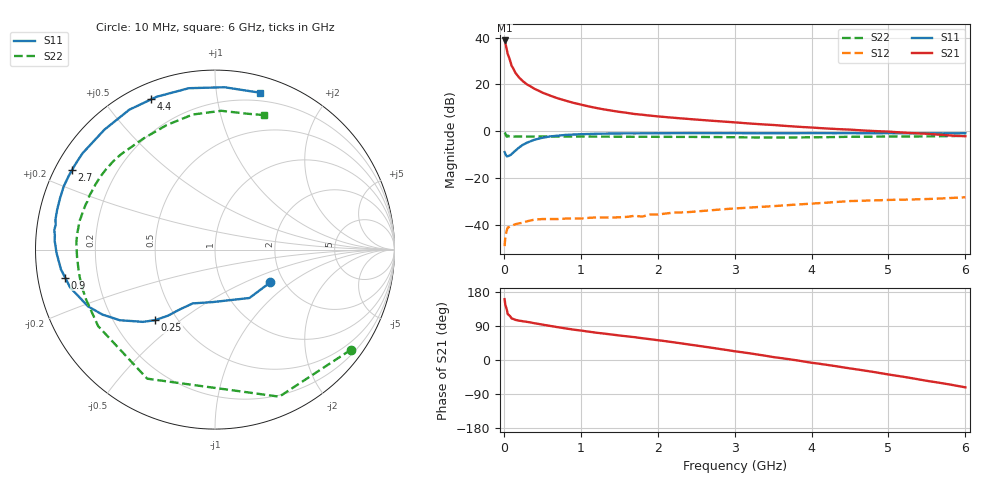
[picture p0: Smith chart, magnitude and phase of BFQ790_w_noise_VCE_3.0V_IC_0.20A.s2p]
! Infineon Technologies  Discrete & RF Semiconductors
! BFQ790
! VCE =  3.0 V,  IC = 0.20 A
! Common Emitter S-Parameters:  May 2015
# GHz  S  MA  R  50
!  f  S11  S21  S12  S22
! GHz  MAG  ANG  MAG  ANG  MAG  ANG  MAG  ANG
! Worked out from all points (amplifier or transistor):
!   77 points, 10 MHz to 6 GHz, reference 50 ohm
!   highest |S21| = 38.8 dB at 10 MHz (marker M1)
!   |S21| within 3 dB of that: start of sweep to 32.24 MHz
!   unconditionally stable (mu >= 1): 237.4 MHz to 389.8 MHz; 594.7 MHz to 765.8 MHz; 842 MHz to end of sweep (the widest 3 of 4)
!   at 130 MHz: K = 0.75, MSG = 33.2 dB, |S12| = -40.0 dB
!   at 2.2 GHz: K = 1.26, MAG = 17.2 dB, |S12| = -34.8 dB
!   at 6 GHz: K = 1.10, MAG = 11.1 dB, |S12| = -28.2 dB
!   lowest NFmin = 3.33 dB at 1.5 GHz
!   S11 on the Smith chart (normalised r, x): 10 MHz: 1.70, -0.71; 250 MHz: 0.38, -0.41; 900 MHz: 0.08, -0.09; 2.7 GHz: 0.05, +0.26; 4.4 GHz: 0.07, +0.66; 6 GHz: 0.13, +1.32
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0.01  0.3575 -30.8  87.11 160.5  0.0035 70.9  0.9411 -36.3
0.02  0.3307 -54.6  75.26 144.6  0.0057 50.6  0.8942 -66.4
0.05  0.2929 -92.7  44.82 121.0  0.0088 33.1  0.8123 -117.7
0.1  0.324 -112.4  25.23 109.6  0.0095 20.3  0.7782 -146.8
0.15  0.3838 -120.2  17.77 105.9  0.0103 19.9  0.7702 -158.7
0.2  0.4526 -125.5  13.96 103.8  0.0108 18.2  0.771 -165.0
0.25  0.5154 -130.3  11.65 102.2  0.011 16.2  0.7689 -169.1
0.3  0.5685 -134.9  10.04 100.6  0.0119 15.2  0.7684 -172.3
0.4  0.6603 -143.4  8.042 96.9  0.013 14.8  0.7697 -176.9
0.5  0.7242 -150.0  6.715 93.4  0.0133 11.6  0.7708 179.8
0.6  0.7749 -155.9  5.792 90.0  0.0133 13.6  0.7735 177.1
0.7  0.8036 -161.1  5.057 86.6  0.0133 13.2  0.7727 174.8
0.9  0.8492 -169.4  4.062 80.3  0.0137 10.7  0.7711 171.1
1.1  0.8736 -176.0  3.403 74.9  0.0141 11.8  0.7706 167.7
1.5  0.8958 174.9  2.599 64.8  0.0145 12.1  0.7636 162.0
2.1  0.9078 163.7  2.01 49.7  0.0174 13.0  0.7584 153.2
2.7  0.9115 151.0  1.678 32.4  0.0205 8.7  0.7518 141.4
3.1  0.909 141.7  1.504 20.4  0.0229 3.3  0.7415 132.3
4.1  0.911 119.4  1.171 -9.9  0.0291 -9.6  0.7453 108.8
4.4  0.9095 113.0  1.1 -19.0  0.0314 -15.7  0.7564 101.7
5.1  0.9065 96.7  0.957 -41.3  0.0343 -29.6  0.7728 85.4
6  0.9094 73.9  0.782 -72.2  0.0388 -50.3  0.7978 69.9
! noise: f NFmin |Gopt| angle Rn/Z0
0.45  5.48  0.47  141  0.52
0.9  3.84  0.6  168  0.17
1.5  3.33  0.71  -172  0.09
1.8  3.37  0.72  -167  0.11
2.6  3.63  0.75  -151  0.27
3.5  4.17  0.82  -135  0.61
